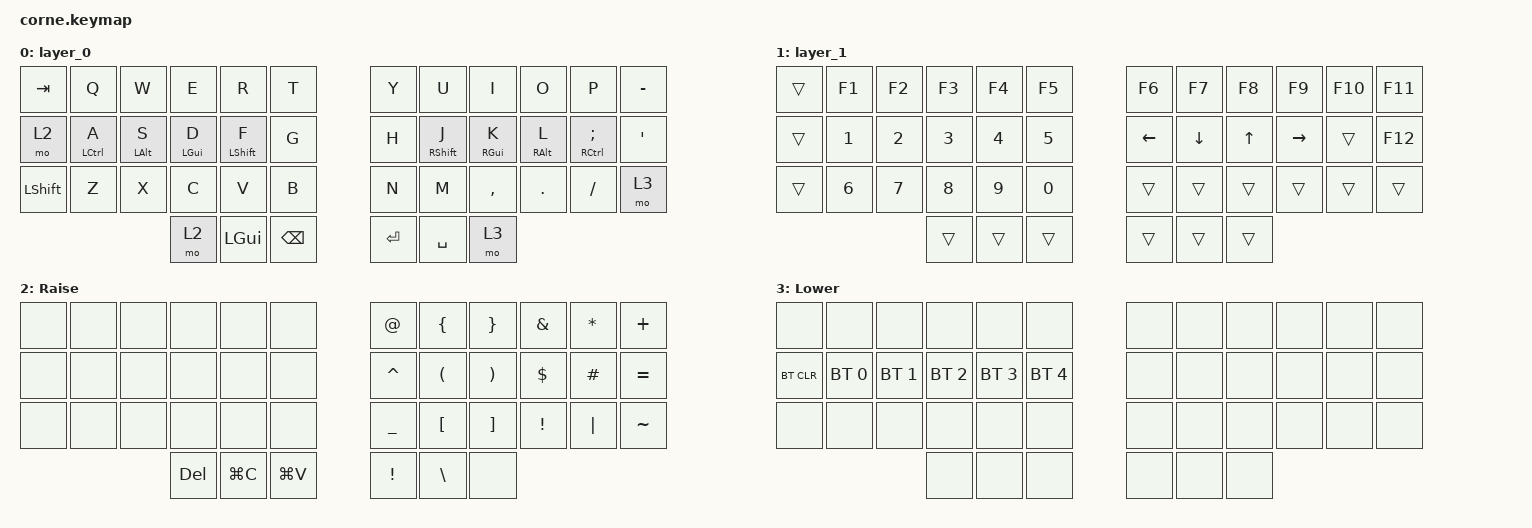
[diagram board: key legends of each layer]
/*
 * Copyright (c) 2020 The ZMK Contributors
 *
 * SPDX-License-Identifier: MIT
 */

#include <behaviors.dtsi>
#include <dt-bindings/zmk/bt.h>
#include <dt-bindings/zmk/keys.h>

/ {
    behaviors {
        HML: HML {
            compatible = "zmk,behavior-hold-tap";
            label = "HML";
            bindings = <&kp>, <&kp>;

            #binding-cells = <2>;
            tapping-term-ms = <280>;
            quick-tap-ms = <175>;
            flavor = "tap-preferred";
            hold-trigger-on-release;
            hold-trigger-key-positions = <36 37 38 39 40 41 30 32 31 18 6 7 8 9 10 11 23 22 21 20 19 33 34 35>;
        };

        HMR: HMR {
            compatible = "zmk,behavior-hold-tap";
            label = "HMR_RIGHT";
            bindings = <&kp>, <&kp>;

            #binding-cells = <2>;
            tapping-term-ms = <280>;
            quick-tap-ms = <175>;
            flavor = "tap-preferred";
            hold-trigger-on-release;
            hold-trigger-key-positions = <36 37 38 39 40 41 24 12 0 1 2 3 5 4 17 16 15 14 13 25 26 27 28 29>;
        };
    };

    keymap {
        compatible = "zmk,keymap";

        default_layer {
            // -----------------------------------------------------------------------------------------
            // |  TAB |  Q  |  W  |  E  |  R  |  T  |   |  Y  |  U   |  I  |  O  |  P  | BKSP |
            // | CTRL |  A  |  S  |  D  |  F  |  G  |   |  H  |  J   |  K  |  L  |  ;  |  '   |
            // | SHFT |  Z  |  X  |  C  |  V  |  B  |   |  N  |  M   |  ,  |  .  |  /  | ESC  |
            //                    | GUI | LWR | SPC |   | ENT | RSE  | ALT |

            display-name = "layer_0";
            bindings = <
&kp TAB    &kp Q                &kp W            &kp E            &kp R              &kp T            &kp Y    &kp U               &kp I             &kp O             &kp P                    &kp MINUS
&mo 2      &HML LEFT_CONTROL A  &HML LEFT_ALT S  &HML LEFT_GUI D  &HML LEFT_SHIFT F  &kp G            &kp H    &HMR RIGHT_SHIFT J  &HMR RIGHT_GUI K  &HMR RIGHT_ALT L  &HMR RIGHT_CONTROL SEMI  &kp SQT
&kp LSHFT  &kp Z                &kp X            &kp C            &kp V              &kp B            &kp N    &kp M               &kp COMMA         &kp DOT           &kp FSLH                 &mo 3
                                                 &mo 2            &kp LEFT_GUI       &kp BACKSPACE    &kp RET  &kp SPACE           &mo 3
            >;
        };

        layer_1 {
            bindings = <
&trans  &kp F1        &kp F2        &kp F3        &kp F4        &kp F5          &kp F6    &kp F7    &kp F8  &kp F9     &kp F10  &kp F11
&trans  &kp NUMBER_1  &kp NUMBER_2  &kp NUMBER_3  &kp NUMBER_4  &kp NUMBER_5    &kp LEFT  &kp DOWN  &kp UP  &kp RIGHT  &trans   &kp F12
&trans  &kp NUMBER_6  &kp NUMBER_7  &kp NUMBER_8  &kp NUMBER_9  &kp NUMBER_0    &trans    &trans    &trans  &trans     &trans   &trans
                                    &trans        &trans        &trans          &trans    &trans    &trans
            >;
        };

        layer_2 {
            // -----------------------------------------------------------------------------------------
            // |  TAB |  !  |  @  |  #  |  $  |  %  |   |  ^  |  &  |  *  |  (  |  )  | BKSP |
            // | CTRL |     |     |     |     |     |   |  -  |  =  |  [  |  ]  |  \  |  `   |
            // | SHFT |     |     |     |     |     |   |  _  |  +  |  {  |  }  | "|" |  ~   |
            //                    | GUI |     | SPC |   | ENT |     | ALT |

            display-name = "Raise";
            bindings = <
&none  &none  &none  &none       &none      &none        &kp AT     &kp LEFT_BRACE        &kp RIGHT_BRACE        &kp AMPERSAND    &kp ASTERISK  &kp PLUS
&none  &none  &none  &none       &none      &none        &kp CARET  &kp LEFT_PARENTHESIS  &kp RIGHT_PARENTHESIS  &kp DOLLAR       &kp HASH      &kp EQUAL
&none  &none  &none  &none       &none      &none        &kp UNDER  &kp LEFT_BRACKET      &kp RIGHT_BRACKET      &kp EXCLAMATION  &kp PIPE      &kp TILDE
                     &kp DELETE  &kp LG(C)  &kp LG(V)    &kp EXCL   &kp BACKSLASH         &none
            >;
        };

        bluetooth {
            display-name = "Lower";
            bindings = <
&none       &none         &none         &none         &none         &none           &none  &none  &none  &none  &none  &none
&bt BT_CLR  &bt BT_SEL 0  &bt BT_SEL 1  &bt BT_SEL 2  &bt BT_SEL 3  &bt BT_SEL 4    &none  &none  &none  &none  &none  &none
&none       &none         &none         &none         &none         &none           &none  &none  &none  &none  &none  &none
                                        &none         &none         &none           &none  &none  &none
            >;
        };
    };
};
